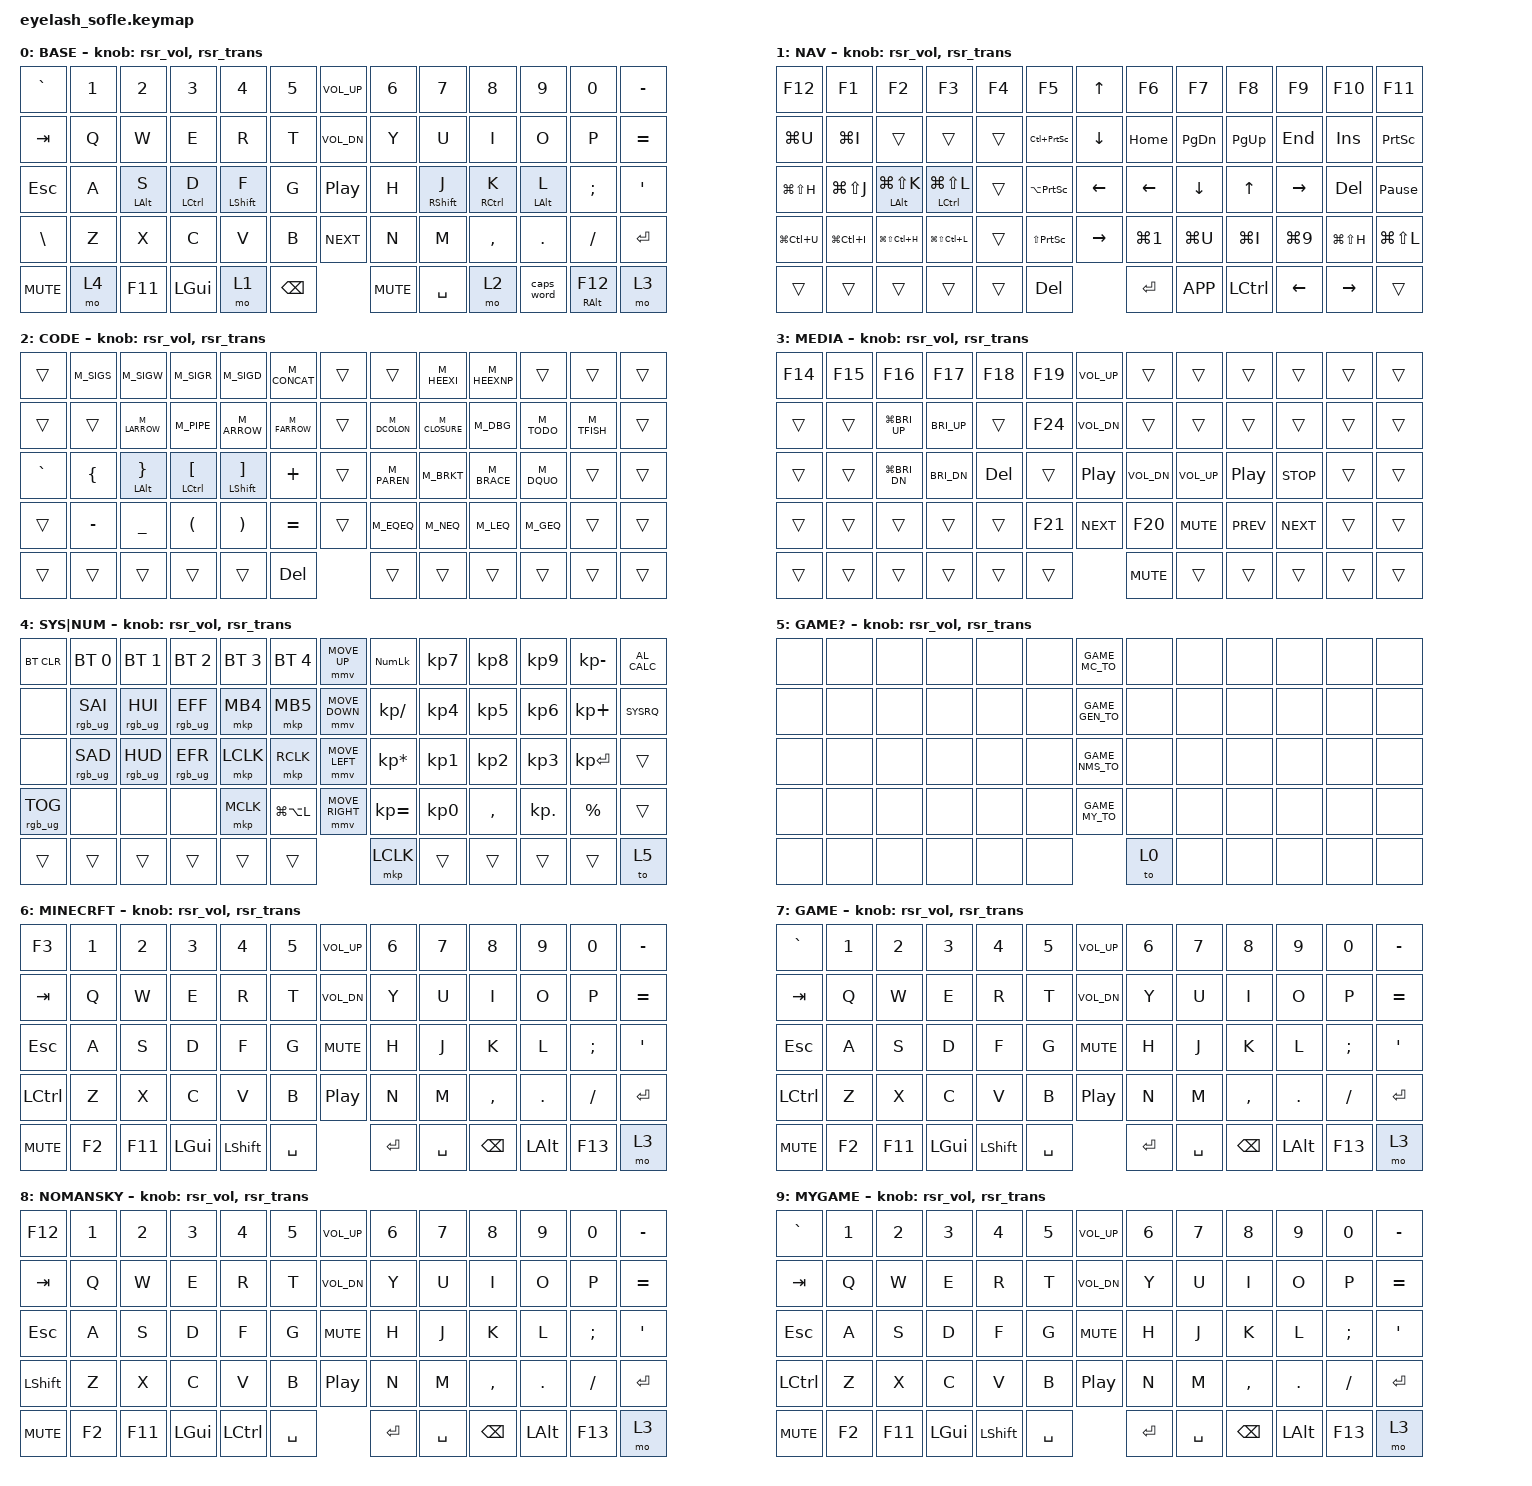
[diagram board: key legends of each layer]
#define ZMK_POINTING_DEFAULT_MOVE_VAL 1200  // 600
#define ZMK_POINTING_DEFAULT_SCRL_VAL 25   // 10

#include <input/processors.dtsi>
#include <zephyr/dt-bindings/input/input-event-codes.h>
#include <behaviors.dtsi>
#include <behaviors/runtime-sensor-rotate.dtsi>
#include <dt-bindings/zmk/bt.h>
#include <dt-bindings/zmk/keys.h>
#include <dt-bindings/zmk/pointing.h>
#include <dt-bindings/zmk/rgb.h>

&mmv_input_listener { input-processors = <&zip_xy_scaler 2 1>; };

&msc_input_listener { input-processors = <&zip_scroll_scaler 2 1>; };

&msc {
    acceleration-exponent = <1>;      // 0
    time-to-max-speed-ms = <100>;       // 300
    delay-ms = <0>;                   // 0
};

&mmv {
    time-to-max-speed-ms = <500>;
    acceleration-exponent = <1>;
    trigger-period-ms = <16>;
};

&soft_off { hold-time-ms = <2000>; };

&caps_word {
    continue-list = <UNDERSCORE MINUS BACKSPACE DELETE N1 N2 N3 N4 N5 N6 N7 N8 N9 N0 EQUAL SEMICOLON COMMA PERIOD BACKSLASH GRAVE LEFT_BRACKET RIGHT_BRACKET APOSTROPHE SLASH>;
};

/ {
    // Runtime sensor-rotate (cormoran / DYA Studio): the encoder behaviour is
    // editable live from the web UI. rsr_vol = default volume on the first
    // sensor; the transparent rsr_trans (2nd sensor) is provided by the
    // <behaviors/runtime-sensor-rotate.dtsi> include. Used on every layer.
    rsr_vol: rsr_vol {
        compatible = "zmk,behavior-runtime-sensor-rotate";
        #sensor-binding-cells = <0>;
        tap-ms = <5>;
        cw-binding = <&kp C_VOL_UP>;
        ccw-binding = <&kp C_VOL_DN>;
    };

    behaviors {
        hml: home_row_mod_left {
            compatible = "zmk,behavior-hold-tap";
            #binding-cells = <2>;
            flavor = "balanced";
            require-prior-idle-ms = <230>;
            tapping-term-ms = <280>;
            quick-tap-ms = <175>;
            bindings = <&kp>, <&kp>;

            hold-trigger-key-positions = <7 8 9 10 11 12 20 21 22 23 24 25 28 29 30 33 34 35 36 37 38 46 47 48 49 50 51 58 59 60 61 62 63>;
            hold-trigger-on-release;
        };

        hmr: home_row_mod_right {
            compatible = "zmk,behavior-hold-tap";
            #binding-cells = <2>;
            flavor = "balanced";
            require-prior-idle-ms = <230>;
            tapping-term-ms = <280>;
            quick-tap-ms = <175>;
            bindings = <&kp>, <&kp>;

            hold-trigger-key-positions = <0 1 2 3 4 5 6 13 14 15 16 17 18 19 26 27 28 29 30 31 32 34 35 36 39 40 41 42 43 44 45 52 53 54 55 56 57>;
            hold-trigger-on-release;
        };

        // Index-finger variants: shorter require-prior-idle-ms because the
        // index finger rolls and holds inconsistently, and hold-preferred
        // so the Shift commits on press of the next key (not its release),
        // which eliminates the CamelCase sluggishness that `balanced` has.
        // Safe here because the positional restriction blocks same-hand rolls
        // and the 70 ms idle window blocks in-stream mis-fires.
        hml_idx: home_row_mod_left_index {
            compatible = "zmk,behavior-hold-tap";
            #binding-cells = <2>;
            flavor = "hold-preferred";
            require-prior-idle-ms = <70>;
            tapping-term-ms = <280>;
            quick-tap-ms = <175>;
            bindings = <&kp>, <&kp>;

            hold-trigger-key-positions = <7 8 9 10 11 12 20 21 22 23 24 25 28 29 30 33 34 35 36 37 38 46 47 48 49 50 51 58 59 60 61 62 63>;
            hold-trigger-on-release;
        };

        hmr_idx: home_row_mod_right_index {
            compatible = "zmk,behavior-hold-tap";
            #binding-cells = <2>;
            flavor = "hold-preferred";
            require-prior-idle-ms = <70>;
            tapping-term-ms = <280>;
            quick-tap-ms = <175>;
            bindings = <&kp>, <&kp>;

            hold-trigger-key-positions = <0 1 2 3 4 5 6 13 14 15 16 17 18 19 26 27 28 29 30 31 32 34 35 36 39 40 41 42 43 44 45 52 53 54 55 56 57>;
            hold-trigger-on-release;
        };

        ralt_mt: ralt_mod_tap {
            compatible = "zmk,behavior-hold-tap";
            #binding-cells = <2>;
            flavor = "balanced";
            require-prior-idle-ms = <230>;
            tapping-term-ms = <280>;
            quick-tap-ms = <175>;
            bindings = <&kp>, <&kp>;

            // No hold-trigger-key-positions: AltGr combos target both hands
        };
    };

    combos {
        compatible = "zmk,combos";

        softoff {
            bindings = <&soft_off>;
            key-positions = <14 28 40>;
        };

        combo_pipe_op {
            bindings = <&M_PIPE>;
            key-positions = <39 49>;
            timeout-ms = <80>;
            layers = <0>;
        };

        // Exit any game layer back to BASE. Top corners (pos 0 + 12) are
        // physically far apart — impossible to brush during gameplay, easy to
        // hit deliberately. Scoped to the game layers only.
        combo_game_exit {
            bindings = <&GAME_EXIT>;
            key-positions = <0 12>;
            timeout-ms = <50>;
            layers = <6 7 8 9>;
        };

        // Re-open the picker without bouncing through BASE.
        combo_game_repick {
            bindings = <&to 5>;
            key-positions = <0 5>;
            timeout-ms = <50>;
            layers = <6 7 8 9>;
        };
    };

    macros {
        SHIFT_MCLK: SHIFT_MCLK {
            compatible = "zmk,behavior-macro";
            #binding-cells = <0>;
            bindings =
                <&macro_press>,
                <&kp LEFT_SHIFT>,
                <&macro_press>,
                <&mkp MB3>,
                <&macro_pause_for_release>,
                <&macro_release>,
                <&kp LEFT_SHIFT &mkp MB3>;

            label = "SHIFT_MCLK";
        };

        M_PIPE: M_PIPE {
            compatible = "zmk,behavior-macro";
            #binding-cells = <0>;
            wait-ms = <0>;
            tap-ms = <0>;
            bindings = <&kp PIPE &kp GT>;
            label = "PIPE_OP";
        };

        M_DCOLON: M_DCOLON {
            compatible = "zmk,behavior-macro";
            #binding-cells = <0>;
            wait-ms = <0>;
            tap-ms = <0>;
            bindings = <&kp COLON &kp COLON>;
            label = "DBL_COLON";
        };

        M_ARROW: M_ARROW {
            compatible = "zmk,behavior-macro";
            #binding-cells = <0>;
            wait-ms = <0>;
            tap-ms = <0>;
            bindings = <&kp MINUS &kp GT>;
            label = "ARROW";
        };

        M_FARROW: M_FARROW {
            compatible = "zmk,behavior-macro";
            #binding-cells = <0>;
            wait-ms = <0>;
            tap-ms = <0>;
            bindings = <&kp EQUAL &kp GT>;
            label = "FAT_ARROW";
        };

        M_LARROW: M_LARROW {
            compatible = "zmk,behavior-macro";
            #binding-cells = <0>;
            wait-ms = <0>;
            tap-ms = <0>;
            bindings = <&kp LT &kp MINUS>;
            label = "LEFT_ARROW";
        };

        M_CLOSURE: M_CLOSURE {
            compatible = "zmk,behavior-macro";
            #binding-cells = <0>;
            wait-ms = <0>;
            tap-ms = <0>;
            bindings = <&kp PIPE &kp UNDER &kp PIPE>;
            label = "RUST_CLOSURE";
        };

        M_EQEQ: M_EQEQ {
            compatible = "zmk,behavior-macro";
            #binding-cells = <0>;
            wait-ms = <0>;
            tap-ms = <0>;
            bindings = <&kp EQUAL &kp EQUAL>;
            label = "EQ_EQ";
        };

        M_NEQ: M_NEQ {
            compatible = "zmk,behavior-macro";
            #binding-cells = <0>;
            wait-ms = <0>;
            tap-ms = <0>;
            bindings = <&kp EXCL &kp EQUAL>;
            label = "NOT_EQ";
        };

        M_LEQ: M_LEQ {
            compatible = "zmk,behavior-macro";
            #binding-cells = <0>;
            wait-ms = <0>;
            tap-ms = <0>;
            bindings = <&kp LT &kp EQUAL>;
            label = "LESS_EQ";
        };

        M_GEQ: M_GEQ {
            compatible = "zmk,behavior-macro";
            #binding-cells = <0>;
            wait-ms = <0>;
            tap-ms = <0>;
            bindings = <&kp GT &kp EQUAL>;
            label = "GTR_EQ";
        };

        M_CONCAT: M_CONCAT {
            compatible = "zmk,behavior-macro";
            #binding-cells = <0>;
            wait-ms = <0>;
            tap-ms = <0>;
            bindings = <&kp LT &kp GT>;
            label = "ELX_CONCAT";
        };

        M_PAREN: M_PAREN {
            compatible = "zmk,behavior-macro";
            #binding-cells = <0>;
            wait-ms = <0>;
            tap-ms = <0>;
            bindings = <&kp LPAR &kp RPAR &kp LEFT>;
            label = "PAREN_PAIR";
        };

        M_BRKT: M_BRKT {
            compatible = "zmk,behavior-macro";
            #binding-cells = <0>;
            wait-ms = <0>;
            tap-ms = <0>;
            bindings = <&kp LBKT &kp RBKT &kp LEFT>;
            label = "BRACKET_PAIR";
        };

        M_BRACE: M_BRACE {
            compatible = "zmk,behavior-macro";
            #binding-cells = <0>;
            wait-ms = <0>;
            tap-ms = <0>;
            bindings = <&kp LBRC &kp RBRC &kp LEFT>;
            label = "BRACE_PAIR";
        };

        M_DQUO: M_DQUO {
            compatible = "zmk,behavior-macro";
            #binding-cells = <0>;
            wait-ms = <0>;
            tap-ms = <0>;
            bindings = <&kp DQT &kp DQT &kp LEFT>;
            label = "DQT_PAIR";
        };

        M_SIGS: M_SIGS {
            compatible = "zmk,behavior-macro";
            #binding-cells = <0>;
            wait-ms = <0>;
            tap-ms = <0>;
            bindings = <&kp TILDE &kp S &kp LPAR &kp RPAR &kp LEFT>;
            label = "SIGIL_S";
        };

        M_SIGW: M_SIGW {
            compatible = "zmk,behavior-macro";
            #binding-cells = <0>;
            wait-ms = <0>;
            tap-ms = <0>;
            bindings = <&kp TILDE &kp W &kp LPAR &kp RPAR &kp LEFT>;
            label = "SIGIL_W";
        };

        M_SIGR: M_SIGR {
            compatible = "zmk,behavior-macro";
            #binding-cells = <0>;
            wait-ms = <0>;
            tap-ms = <0>;
            bindings = <&kp TILDE &kp R &kp FSLH &kp FSLH &kp LEFT>;
            label = "SIGIL_R";
        };

        M_SIGD: M_SIGD {
            compatible = "zmk,behavior-macro";
            #binding-cells = <0>;
            wait-ms = <0>;
            tap-ms = <0>;
            bindings = <&kp TILDE &kp LS(D) &kp LBKT &kp RBKT &kp LEFT>;
            label = "SIGIL_D";
        };

        M_TFISH: M_TFISH {
            compatible = "zmk,behavior-macro";
            #binding-cells = <0>;
            wait-ms = <0>;
            tap-ms = <0>;
            bindings = <&kp COLON &kp COLON &kp LT &kp GT &kp LEFT>;
            label = "TURBOFISH";
        };

        M_DBG: M_DBG {
            compatible = "zmk,behavior-macro";
            #binding-cells = <0>;
            wait-ms = <0>;
            tap-ms = <0>;
            bindings = <&kp D &kp B &kp G &kp EXCL &kp LPAR &kp RPAR &kp LEFT>;
            label = "RUST_DBG";
        };

        M_TODO: M_TODO {
            compatible = "zmk,behavior-macro";
            #binding-cells = <0>;
            wait-ms = <0>;
            tap-ms = <0>;
            bindings = <&kp T &kp O &kp D &kp O &kp EXCL &kp LPAR &kp RPAR &kp LEFT>;
            label = "RUST_TODO";
        };

        M_HEEXI: M_HEEXI {
            compatible = "zmk,behavior-macro";
            #binding-cells = <0>;
            wait-ms = <0>;
            tap-ms = <0>;
            bindings = <&kp LBRC &kp SPACE &kp SPACE &kp RBRC &kp LEFT &kp LEFT>;
            label = "HEEX_INTERP";
        };

        M_HEEXNP: M_HEEXNP {
            compatible = "zmk,behavior-macro";
            #binding-cells = <0>;
            wait-ms = <0>;
            tap-ms = <0>;
            bindings = <&kp LT &kp PRCNT &kp SPACE &kp SPACE &kp PRCNT &kp GT &kp LEFT &kp LEFT &kp LEFT>;
            label = "EEX_NONPRINT";
        };

        // Magic SysRq: on Linux PrintScreen *is* KEY_SYSRQ (HID SysReq, 0x9A,
        // maps to nothing), and the kernel takes it as SysRq while Alt is down.
        // Alt stays held until this key is released, so: hold SYS, press and
        // keep holding this key, let go of SYS, tap the command letter on BASE
        // (R E I S U B, ...). Which commands work is kernel.sysrq's bitmask.
        SYSRQ: SYSRQ {
            compatible = "zmk,behavior-macro";
            #binding-cells = <0>;
            bindings = <&macro_press &kp LALT>, <&macro_tap &kp PSCRN>, <&macro_pause_for_release>, <&macro_release &kp LALT>;
            label = "SYSRQ";
        };

        // Game-mode entry macros: enable RGB underglow, set a solid per-game
        // color, then activate the matching layer. The color shows on USB and
        // on battery alike (CONFIG_ZMK_RGB_UNDERGLOW_AUTO_OFF_USB=n since
        // v2.6.0); the OLED display-name ("MINECRFT" / "GAME" / "NOMANSKY" /
        // "MYGAME") is still the primary active-mode cue.
        GAME_MC_TO: GAME_MC_TO {
            compatible = "zmk,behavior-macro";
            #binding-cells = <0>;
            bindings = <&rgb_ug RGB_ON>, <&rgb_ug RGB_EFS_CMD 0>, <&rgb_ug RGB_COLOR_HSB(120,100,50)>, <&to 6>;
            label = "GAME_MC_TO";
        };

        GAME_GEN_TO: GAME_GEN_TO {
            compatible = "zmk,behavior-macro";
            #binding-cells = <0>;
            bindings = <&rgb_ug RGB_ON>, <&rgb_ug RGB_EFS_CMD 0>, <&rgb_ug RGB_COLOR_HSB(220,100,50)>, <&to 7>;
            label = "GAME_GEN_TO";
        };

        GAME_NMS_TO: GAME_NMS_TO {
            compatible = "zmk,behavior-macro";
            #binding-cells = <0>;
            bindings = <&rgb_ug RGB_ON>, <&rgb_ug RGB_EFS_CMD 0>, <&rgb_ug RGB_COLOR_HSB(0,0,50)>, <&to 8>;
            label = "GAME_NMS_TO";
        };

        // MYGAME (custom slot, #79): yellow, hue 60 — the one wide gap left in
        // the wheel (amber 35 MEDIA, green 120 MC, teal 160 base, blue 220 GAME).
        GAME_MY_TO: GAME_MY_TO {
            compatible = "zmk,behavior-macro";
            #binding-cells = <0>;
            bindings = <&rgb_ug RGB_ON>, <&rgb_ug RGB_EFS_CMD 0>, <&rgb_ug RGB_COLOR_HSB(60,100,50)>, <&to 9>;
            label = "GAME_MY_TO";
        };

        // Exit: turn the underglow off (smart-off base = dark) and return to BASE.
        GAME_EXIT: GAME_EXIT {
            compatible = "zmk,behavior-macro";
            #binding-cells = <0>;
            bindings = <&rgb_ug RGB_OFF>, <&to 0>;
            label = "GAME_EXIT";
        };

        // Per-layer RGB feedback now lives in the zmk-rgb-layer module
        // (event-driven listener on layer-state changes), not in the keymap.
    };

    keymap {
        compatible = "zmk,keymap";

        layer0 {
            bindings = <
&kp GRAVE   &kp N1  &kp N2   &kp N3        &kp N4        &kp N5             &kp C_VOL_UP     &kp N6           &kp N7        &kp N8        &kp N9   &kp N0      &kp MINUS
&kp TAB     &kp Q   &kp W          &kp E         &kp R            &kp T              &kp C_VOL_DN     &kp Y            &kp U            &kp I         &kp O           &kp P       &kp EQUAL
&kp ESC     &kp A   &hml LALT S    &hml LCTRL D  &hml_idx LSHFT F &kp G              &kp C_PP         &kp H            &hmr_idx RSHFT J &hmr RCTRL K  &hmr LALT L     &kp SEMI    &kp APOS
&kp BSLH    &kp Z   &kp X    &kp C         &kp V         &kp B              &kp C_NEXT       &kp N            &kp M         &kp COMMA     &kp DOT  &kp FSLH    &kp RET
&kp C_MUTE  &mo 4   &kp F11  &kp LGUI      &mo 1         &kp BSPC           &kp C_MUTE       &kp SPACE        &mo 2         &caps_word    &ralt_mt RALT F12  &mo 3
            >;

            sensor-bindings = <&rsr_vol &rsr_trans>;
            display-name = "BASE";
        };

        layer_1 {
            bindings = <
&kp F12        &kp F1         &kp F2             &kp F3             &kp F4     &kp F5      &kp UP_ARROW     &kp F6      &kp F7     &kp F8     &kp F9      &kp F10        &kp F11
&kp LG(U)      &kp LG(I)      &trans             &trans             &trans     &kp LC(PSCRN)  &kp DOWN_ARROW   &kp HOME    &kp PG_DN  &kp PG_UP  &kp END     &kp INS        &kp PRINTSCREEN
&kp LG(LS(H))  &kp LG(LS(J))  &hml LALT LG(LS(K))  &hml LCTRL LG(LS(L))  &trans     &kp LA(PSCRN)  &kp LEFT_ARROW   &kp LEFT    &kp DOWN   &kp UP     &kp RIGHT   &kp DEL        &kp PAUSE_BREAK
&kp LG(LC(U))  &kp LG(LC(I))  &kp LG(LS(LC(H)))  &kp LG(LS(LC(L)))  &trans     &kp LS(PSCRN)  &kp RIGHT_ARROW  &kp LG(N1)  &kp LG(U)  &kp LG(I)  &kp LG(N9)  &kp LG(LS(H))  &kp LG(LS(L))
&trans         &trans         &trans             &trans             &trans     &kp DEL     &kp ENTER        &kp K_APP   &kp LCTRL  &kp LEFT   &kp RIGHT   &trans
            >;

            display-name = "NAV";
            sensor-bindings = <&rsr_vol &rsr_trans>;
        };

        layer_2 {
            bindings = <
&trans     &M_SIGS    &M_SIGW        &M_SIGR         &M_SIGD         &M_CONCAT   &trans  &trans     &M_HEEXI  &M_HEEXNP  &trans      &trans     &trans
&trans     &trans     &M_LARROW      &M_PIPE         &M_ARROW        &M_FARROW   &trans  &M_DCOLON  &M_CLOSURE &M_DBG    &M_TODO     &M_TFISH   &trans
&kp GRAVE  &kp LBRC   &mt LALT RBRC  &mt LCTRL LBKT  &mt LSHFT RBKT  &kp PLUS    &trans  &M_PAREN   &M_BRKT   &M_BRACE   &M_DQUO     &trans     &trans
&trans     &kp MINUS  &kp UNDER      &kp LPAR        &kp RPAR        &kp EQUAL   &trans  &M_EQEQ    &M_NEQ    &M_LEQ     &M_GEQ      &trans     &trans
&trans     &trans     &trans         &trans          &trans          &kp DEL     &trans  &trans     &trans    &trans     &trans      &trans
            >;

            display-name = "CODE";
            sensor-bindings = <&rsr_vol &rsr_trans>;
        };

        layer_3 {
            bindings = <
&kp F14  &kp F15  &kp F16  &kp F17  &kp F18  &kp F19    &kp C_VOL_UP  &trans        &trans        &trans      &trans      &trans  &trans
&trans  &trans  &kp LG(C_BRI_UP)  &kp C_BRI_UP  &trans  &kp F24    &kp C_VOL_DN  &trans        &trans        &trans      &trans      &trans  &trans
&trans  &trans  &kp LG(C_BRI_DN)  &kp C_BRI_DN  &kp DEL  &trans   &kp C_PP      &kp C_VOL_DN  &kp C_VOL_UP  &kp C_PP    &kp C_STOP  &trans  &trans
&trans  &trans  &trans  &trans  &trans  &kp F21   &kp C_NEXT    &kp F20       &kp C_MUTE    &kp C_PREV  &kp C_NEXT  &trans  &trans
&trans  &trans  &trans  &trans  &trans  &trans    &kp C_MUTE    &trans        &trans        &trans      &trans      &trans
            >;

            display-name = "MEDIA";
            sensor-bindings = <&rsr_vol &rsr_trans>;
        };

        layer_4 {
            bindings = <
&bt BT_CLR       &bt BT_SEL 0     &bt BT_SEL 1     &bt BT_SEL 2     &bt BT_SEL 3  &bt BT_SEL 4    &mmv MOVE_UP     &kp KP_NUM       &kp KP_N7  &kp KP_N8  &kp KP_N9   &kp KP_MINUS  &kp C_AL_CALC
&none            &rgb_ug RGB_SAI  &rgb_ug RGB_HUI  &rgb_ug RGB_EFF  &mkp MB4      &mkp MB5        &mmv MOVE_DOWN   &kp KP_SLASH     &kp KP_N4  &kp KP_N5  &kp KP_N6   &kp KP_PLUS   &SYSRQ
&none            &rgb_ug RGB_SAD  &rgb_ug RGB_HUD  &rgb_ug RGB_EFR  &mkp LCLK     &mkp RCLK       &mmv MOVE_LEFT   &kp KP_ASTERISK  &kp KP_N1  &kp KP_N2  &kp KP_N3   &kp KP_ENTER  &trans
&rgb_ug RGB_TOG  &none            &none            &none            &mkp MCLK     &kp LG(LA(L))          &mmv MOVE_RIGHT  &kp KP_EQUAL     &kp KP_N0  &kp COMMA  &kp KP_DOT  &kp PERCENT   &trans
&trans           &trans           &trans           &trans           &trans        &trans          &mkp LCLK        &trans           &trans     &trans     &trans      &to 5
            >;

            display-name = "SYS|NUM";
            sensor-bindings = <&rsr_vol &rsr_trans>;
        };

        // Layer 5 — GAME_PICK: transient launcher reached from the SYS layer
        // (hold left-thumb SYS, tap right-thumb outer key → &to 5). Joystick
        // UP = Minecraft, DOWN = generic GAME, LEFT = No Man's Sky,
        // RIGHT = MYGAME (custom slot), CENTER = cancel back to BASE. Every
        // other key is &none so a stray press can't escape the picker.
        layer_5 {
            bindings = <
&none  &none  &none  &none  &none  &none      &GAME_MC_TO   &none  &none  &none  &none  &none  &none
&none  &none  &none  &none  &none  &none      &GAME_GEN_TO  &none  &none  &none  &none  &none  &none
&none  &none  &none  &none  &none  &none      &GAME_NMS_TO  &none  &none  &none  &none  &none  &none
&none  &none  &none  &none  &none  &none      &GAME_MY_TO   &none  &none  &none  &none  &none  &none
&none  &none  &none  &none  &none  &none      &to 0         &none  &none  &none  &none  &none
            >;

            display-name = "GAME?";
            sensor-bindings = <&rsr_vol &rsr_trans>;
        };

        // Layer 6 — GAME_MC (Minecraft). Plain WASD/QWER, no HRM. LCTRL@39
        // sprint, LSHIFT@56 sneak, SPACE@57 + @59 on both thumbs. Right half plain
        // QWERTY for chat. Joystick = 4-way audio cluster. F13@62 = push-to-talk
        // for Discord/in-game voice. F3@0 = debug screen.
        layer_6 {
            bindings = <
&kp F3      &kp N1  &kp N2  &kp N3    &kp N4     &kp N5         &kp C_VOL_UP  &kp N6     &kp N7    &kp N8     &kp N9    &kp N0     &kp MINUS
&kp TAB     &kp Q   &kp W   &kp E     &kp R      &kp T          &kp C_VOL_DN  &kp Y      &kp U     &kp I      &kp O     &kp P      &kp EQUAL
&kp ESC     &kp A   &kp S   &kp D     &kp F      &kp G          &kp C_MUTE    &kp H      &kp J     &kp K      &kp L     &kp SEMI   &kp APOS
&kp LCTRL   &kp Z   &kp X   &kp C     &kp V      &kp B          &kp C_PP      &kp N      &kp M     &kp COMMA  &kp DOT   &kp FSLH   &kp RET
&kp C_MUTE  &kp F2  &kp F11 &kp LGUI  &kp LSHFT  &kp SPACE      &kp ENTER     &kp SPACE  &kp BSPC  &kp LALT   &kp F13   &mo 3
            >;

            display-name = "MINECRFT";
            sensor-bindings = <&rsr_vol &rsr_trans>;
        };

        // Layer 7 — GAME (generic FPS/MOBA: LoL / Doom / CS2 / etc.). Same
        // chassis as MC, but GRAVE@0 = console. Default binds live at their
        // natural letter positions (QWER abilities, B/R/E/G actions, 1-6 items).
        layer_7 {
            bindings = <
&kp GRAVE   &kp N1  &kp N2  &kp N3    &kp N4     &kp N5         &kp C_VOL_UP  &kp N6     &kp N7    &kp N8     &kp N9    &kp N0     &kp MINUS
&kp TAB     &kp Q   &kp W   &kp E     &kp R      &kp T          &kp C_VOL_DN  &kp Y      &kp U     &kp I      &kp O     &kp P      &kp EQUAL
&kp ESC     &kp A   &kp S   &kp D     &kp F      &kp G          &kp C_MUTE    &kp H      &kp J     &kp K      &kp L     &kp SEMI   &kp APOS
&kp LCTRL   &kp Z   &kp X   &kp C     &kp V      &kp B          &kp C_PP      &kp N      &kp M     &kp COMMA  &kp DOT   &kp FSLH   &kp RET
&kp C_MUTE  &kp F2  &kp F11 &kp LGUI  &kp LSHFT  &kp SPACE      &kp ENTER     &kp SPACE  &kp BSPC  &kp LALT   &kp F13   &mo 3
            >;

            display-name = "GAME";
            sensor-bindings = <&rsr_vol &rsr_trans>;
        };

        // Layer 8 — NOMANSKY (No Man's Sky). Same chassis as GAME (7), with two
        // deliberate deltas:
        //   * LSHFT@39 / LCTRL@56 are exchanged vs. layers 6-7 — NMS puts run on
        //     Shift and leaves Ctrl unused, and this is the arrangement the
        //     owner asked for. (Note: it does move the held run modifier off the
        //     thumb and onto the pinky, unlike the MC/GAME chassis.)
        //   * pos 0 = F12 (Steam screenshot). MC's F3 debug screen and GAME's
        //     GRAVE console both do nothing in NMS.
        layer_8 {
            bindings = <
&kp F12     &kp N1  &kp N2  &kp N3    &kp N4     &kp N5         &kp C_VOL_UP  &kp N6     &kp N7    &kp N8     &kp N9    &kp N0     &kp MINUS
&kp TAB     &kp Q   &kp W   &kp E     &kp R      &kp T          &kp C_VOL_DN  &kp Y      &kp U     &kp I      &kp O     &kp P      &kp EQUAL
&kp ESC     &kp A   &kp S   &kp D     &kp F      &kp G          &kp C_MUTE    &kp H      &kp J     &kp K      &kp L     &kp SEMI   &kp APOS
&kp LSHFT   &kp Z   &kp X   &kp C     &kp V      &kp B          &kp C_PP      &kp N      &kp M     &kp COMMA  &kp DOT   &kp FSLH   &kp RET
&kp C_MUTE  &kp F2  &kp F11 &kp LGUI  &kp LCTRL  &kp SPACE      &kp ENTER     &kp SPACE  &kp BSPC  &kp LALT   &kp F13   &mo 3
            >;

            display-name = "NOMANSKY";
            sensor-bindings = <&rsr_vol &rsr_trans>;
        };

        // Layer 9 — MYGAME: the owner's custom game slot (#79), picker joystick
        // RIGHT. Starts as a verbatim copy of GAME (7) — same chassis, GRAVE@0 —
        // and is meant to be rebound live (Studio now, sofleii game presets
        // later) without rebuilding the firmware.
        layer_9 {
            bindings = <
&kp GRAVE   &kp N1  &kp N2  &kp N3    &kp N4     &kp N5         &kp C_VOL_UP  &kp N6     &kp N7    &kp N8     &kp N9    &kp N0     &kp MINUS
&kp TAB     &kp Q   &kp W   &kp E     &kp R      &kp T          &kp C_VOL_DN  &kp Y      &kp U     &kp I      &kp O     &kp P      &kp EQUAL
&kp ESC     &kp A   &kp S   &kp D     &kp F      &kp G          &kp C_MUTE    &kp H      &kp J     &kp K      &kp L     &kp SEMI   &kp APOS
&kp LCTRL   &kp Z   &kp X   &kp C     &kp V      &kp B          &kp C_PP      &kp N      &kp M     &kp COMMA  &kp DOT   &kp FSLH   &kp RET
&kp C_MUTE  &kp F2  &kp F11 &kp LGUI  &kp LSHFT  &kp SPACE      &kp ENTER     &kp SPACE  &kp BSPC  &kp LALT   &kp F13   &mo 3
            >;

            display-name = "MYGAME";
            sensor-bindings = <&rsr_vol &rsr_trans>;
        };
    };
};
